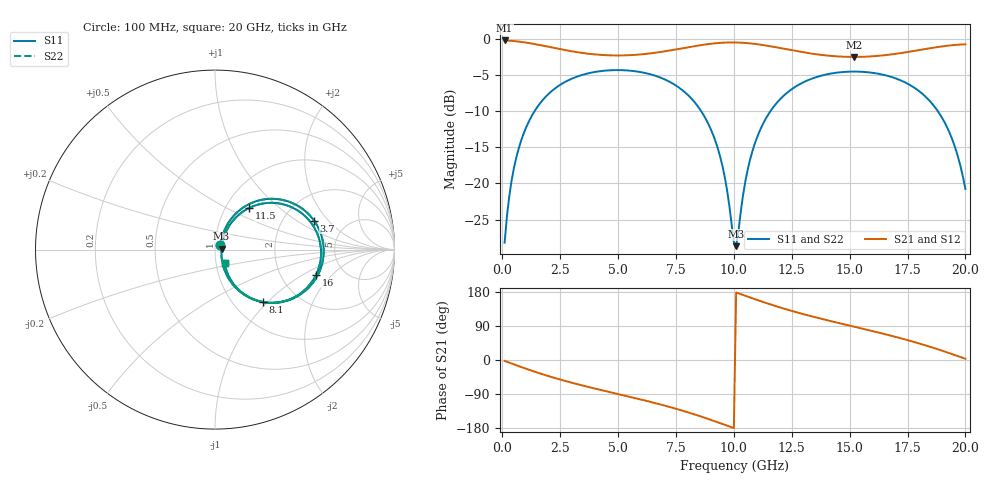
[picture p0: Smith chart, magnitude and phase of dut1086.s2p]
! Touchstone file exported from HFSS 2026.1.0
!  File:  C:/ffzhzh/LocalFiles/Ansys_Project_Files/temp_train_TSV_RDL_1086_1783301330_38820.aedt
!  Generated:  09:42:15 AM Jul  6, 2026
!  Design:  TSV_RDL
!  Project:  temp_train_TSV_RDL_1086_1783301330_38820
! Variables:
!  h_bsmrdl = 5.31um
!  h_ox = 20um
!  h_rdl = 5um
!  h_sub = 81.02um
!  h_tmrdl = 4.9um
!  h_tsv = 81.02um
!  h_via = 3um
!  l_bsmrdl = 763.31um
!  l_sub = 6177.33um
!  l_tmrdl = 850.22um
!  m_sub = 200um
!  pitch = 45.54um
!  r_tsv = 6.24um
!  s_tmrdl = 10um
!  w_bsmrdl = 10.71um
!  w_sub = 500um
!  w_tmrdl = 18.13um
!  x_tsv_center1 = 859.285um
!  x_tsv_center2 = 1633.305um
!  x_tsv_center3 = 2501.655um
!  x_tsv_center4 = 3275.675um
!  x_tsv_center5 = 4144.025um
!  x_tsv_center6 = 4918.045um
# GHz S MA R 50.000000
! Terminal data exported
! Port[1] = TM_RDL1_1_T1
! Port[2] = TM_RDL5_1_T1
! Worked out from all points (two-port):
!   200 points, 100 MHz to 20 GHz, reference 50 ohm
!   highest |S21| = -0.26 dB at 100 MHz (marker M1); lowest = -2.5 dB at 15.2 GHz (marker M2)
!   |S21| within 3 dB of the highest: start of sweep to end of sweep
!   lowest |S11| = -28.7 dB at 10.1 GHz (marker M3), VSWR 1.08, Z = 53.8 + j0.519 ohm
!   |S11| at or under -10 dB: start of sweep to 1.4 GHz; 8.583 GHz to 11.59 GHz (3.005 GHz wide, 29.8 % of centre); 18.8 GHz to end of sweep
!   |S22| runs from -28.7 to -4.4 dB; largest |S21 - S12| = 1.7e-14
!   S11 on the Smith chart (normalised r, x): 100 MHz: 1.06, +0.05; 3.7 GHz: 2.95, +1.42; 8.1 GHz: 1.35, -0.94; 11.5 GHz: 1.28, +0.66; 16 GHz: 3.14, -1.34; 20 GHz: 1.10, -0.17
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0.1  0.03896 39.0  0.9704 -2.4  0.9704 -2.4  0.03896 39.0
! Gamma 0 0 0 0
! Port Impedance 50 0 50 0
0.3  0.08135 60.8  0.9664 -7.0  0.9664 -7.0  0.08135 60.8
0.5  0.127 64.1  0.9608 -11.5  0.9608 -11.5  0.127 64.1
1.1  0.2579 58.1  0.934 -24.6  0.934 -24.6  0.2579 58.1
2.1  0.4294 41.2  0.8704 -44.4  0.8704 -44.4  0.4294 41.2
3.5  0.564 19.2  0.7939 -67.8  0.7939 -67.8  0.564 19.2
3.7  0.5749 16.3  0.7865 -70.9  0.7865 -70.9  0.5749 16.3
5.2  0.6048 -4.5  0.765 -92.7  0.765 -92.7  0.6048 -4.5
6.8  0.54 -27.2  0.8065 -116.8  0.8065 -116.8  0.54 -27.2
8.1  0.3955 -47.7  0.8752 -139.7  0.8752 -139.7  0.3955 -47.7
9.3  0.1759 -64.9  0.9309 -164.2  0.9309 -164.2  0.1759 -64.9
9.6  0.1123 -64.3  0.9377 -170.8  0.9377 -170.8  0.1123 -64.4
10.1  0.03686 7.5  0.9398 178.1  0.9398 178.1  0.03673 7.5
10.7  0.1457 59.2  0.9268 165.0  0.9268 165.0  0.1457 59.2
11.5  0.3012 50.5  0.8893 148.3  0.8893 148.3  0.3012 50.6
13.4  0.531 21.3  0.7856 114.6  0.7856 114.6  0.531 21.3
15.2  0.5916 -3.4  0.7468 87.8  0.7468 87.8  0.5916 -3.4
16  0.5799 -14.2  0.7546 76.1  0.7546 76.1  0.58 -14.2
16.7  0.5496 -23.8  0.7736 65.5  0.7736 65.5  0.5497 -23.8
18.8  0.3168 -55.1  0.8739 28.5  0.8739 28.5  0.3169 -55.1
19.5  0.1881 -62.5  0.9022 14.0  0.9022 14.0  0.1881 -62.5
20  0.09146 -54.5  0.9128 3.2  0.9128 3.2  0.09148 -54.5
